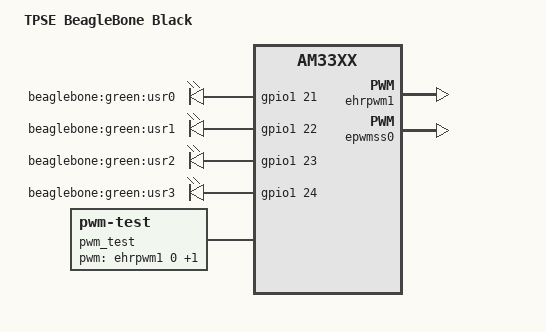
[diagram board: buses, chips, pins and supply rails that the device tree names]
/* SPDX-License-Identifier: GPL-2.0 */
/dts-v1/;
#include "am335x-evm.dts"

/ {
    model = "TPSE BeagleBone Black";
    compatible = "ti,am335x-bone-black", "ti,am335x-bone", "ti,am33xx";

    leds {
        compatible = "gpio-leds";
        led0 {
            label = "beaglebone:green:usr0";
            gpios = <&gpio1 21 GPIO_ACTIVE_HIGH>; /* USR0 */
            linux,default-trigger = "heartbeat";
        };
        led1 {
            label = "beaglebone:green:usr1";
            gpios = <&gpio1 22 GPIO_ACTIVE_HIGH>; /* USR1 */
            linux,default-trigger = "mmc0";
        };
        led2 {
            label = "beaglebone:green:usr2";
            gpios = <&gpio1 23 GPIO_ACTIVE_HIGH>; /* USR2 */
            linux,default-trigger = "cpu0";
        };
        led3 {
            label = "beaglebone:green:usr3";
            gpios = <&gpio1 24 GPIO_ACTIVE_HIGH>; /* USR3 */
            linux,default-trigger = "none";
        };
    };

    pwm_test {
        compatible = "pwm-test";
        pwms = <&ehrpwm1 0 1000000 0>, /* PWM1A com período de 1 ms */
               <&ehrpwm1 1 1000000 0>; /* PWM1B com período de 1 ms */
        pwm-names = "pwm_test_A", "pwm_test_B";
    };

    fragment@1 {
        target = <&epwmss0>;
        __overlay__ {
            status = "okay";
        };
    };

    fragment@2 {
        target = <&ehrpwm1>;
        __overlay__ {
            pinctrl-names = "default";
            pinctrl-0 = <&pwm_pins>;
            status = "okay";
        };
    };
};

&am33xx_pinmux {
    pwm_pins: pwm_pins {
        pinctrl-single,pins = <
            AM33XX_IOPAD(0x848, PIN_OUTPUT | MUX_MODE6) // P9.14, EHRPWM1A
            AM33XX_IOPAD(0x84c, PIN_OUTPUT | MUX_MODE6) // P9.16, EHRPWM1B
        >;
    };
};

&ehrpwm1 {
    pinctrl-names = "default";
    pinctrl-0 = <&pwm_pins>;
    status = "okay";
};

